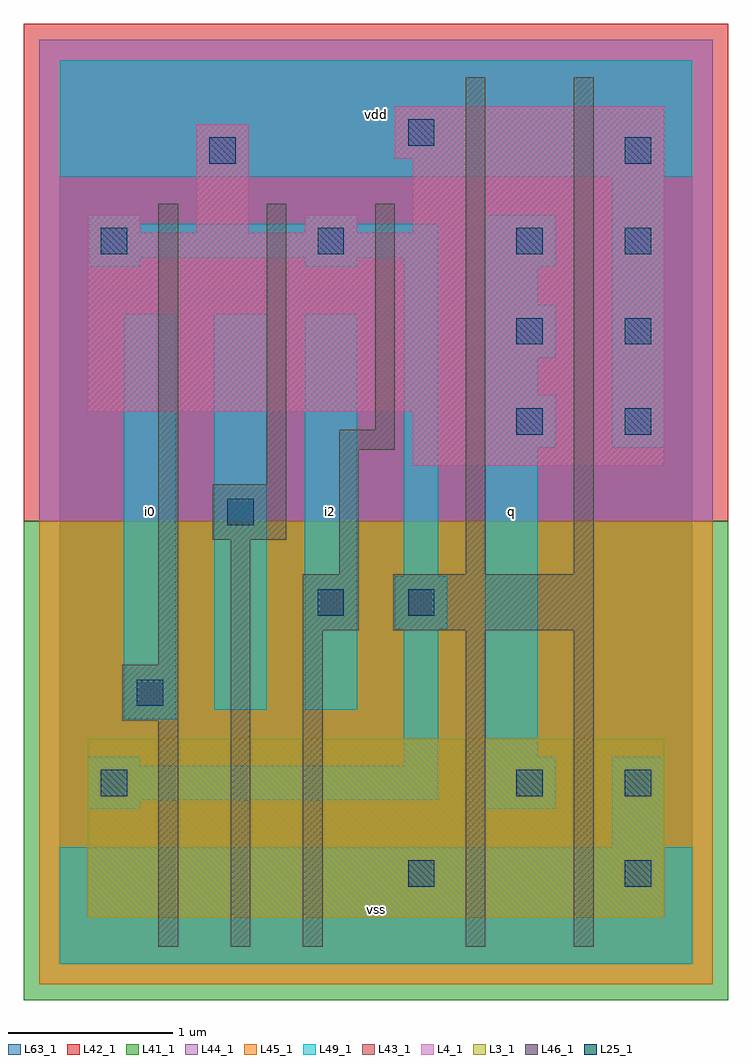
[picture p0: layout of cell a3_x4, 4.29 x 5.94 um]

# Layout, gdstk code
import gdstk
lib = gdstk.Library(unit=1e-6, precision=1e-09)
def R(c, l, rs):  # rectangles x0, y0, x1, y1
    for r in rs: c.add(gdstk.rectangle(r[:2], r[2:], *l))
def A(c, l, x, y, w, h, nx, ny, dx, dy):  # array of equal rectangles
    R(c, l, [(x+i*dx, y+j*dy, x+i*dx+w, y+j*dy+h) for i in range(nx) for j in range(ny)])
L3_1 = (3, 1)
L4_1 = (4, 1)
L25_1 = (25, 1)
L41_1 = (41, 1)
L42_1 = (42, 1)
L43_1 = (43, 1)
L44_1 = (44, 1)
L45_1 = (45, 1)
L46_1 = (46, 1)
L49_1 = (49, 1)
L63_1 = (63, 1)

a3_x4 = lib.new_cell('a3_x4')
R(a3_x4, L3_1, [(0.17,0.28,3.68,1.37)])
R(a3_x4, L4_1, [(2.15,3.03,3.68,3.36), (0.17,3.36,3.68,4.45), (0.17,4.45,0.49,4.56), (0.83,4.45,1.15,5.11), (1.49,4.45,1.81,4.56), (2.15,4.45,3.68,4.9), (2.04,4.9,3.68,5.22)])
A(a3_x4, L25_1, 2.78, 3.22, 0.16, 0.16, 1, 3, 0, 0.55)
A(a3_x4, L25_1, 3.44, 3.22, 0.16, 0.16, 1, 4, 0, 0.55)
R(a3_x4, L25_1, [(2.12,0.47,2.28,0.63), (3.44,0.47,3.6,0.63), (0.25,1.02,0.41,1.18), (2.78,1.02,2.94,1.18), (3.44,1.02,3.6,1.18), (0.47,1.57,0.63,1.73), (1.57,2.12,1.73,2.28), (2.12,2.12,2.28,2.28), (1.02,2.67,1.18,2.83), (0.25,4.32,0.41,4.48), (1.57,4.32,1.73,4.48), (0.91,4.87,1.07,5.03), (2.12,4.98,2.28,5.14)])
R(a3_x4, L41_1, [(-0.22,-0.22,4.07,2.695)])
R(a3_x4, L42_1, [(-0.22,2.695,4.07,5.72)])
R(a3_x4, L43_1, [(0.17,0.28,3.68,1.37), (2.15,3.03,3.68,3.36), (0.17,3.36,3.68,4.45), (0.17,4.45,0.49,4.56), (0.83,4.45,1.15,5.11), (1.49,4.45,1.81,4.56), (2.15,4.45,3.68,4.9), (2.04,4.9,3.68,5.22)])
R(a3_x4, L44_1, [(-0.125,2.695,3.975,5.625)])
R(a3_x4, L45_1, [(-0.125,-0.125,3.975,2.695)])
R(a3_x4, L46_1, [(0.6,0.105,0.72,1.48), (1.04,0.105,1.16,2.58), (1.48,0.105,1.6,2.03), (2.47,0.105,2.59,2.03), (3.13,0.105,3.25,2.03), (0.38,1.48,0.72,1.82), (0.6,1.82,0.72,4.625), (1.48,2.03,1.82,2.37), (2.03,2.03,3.25,2.37), (1.7,2.37,1.82,3.13), (2.47,2.37,2.59,5.395), (3.13,2.37,3.25,5.395), (0.93,2.58,1.38,2.92), (1.26,2.92,1.38,4.625), (1.7,3.13,2.04,3.25), (1.92,3.25,2.04,4.625)])
A(a3_x4, L49_1, 2.59, 3.14, 0.43, 0.32, 1, 3, 0, 0.55)
R(a3_x4, L49_1, [(0,0,3.85,0.71), (3.36,0.71,3.68,1.26), (0.17,0.94,0.49,0.995), (2.59,0.94,3.02,1.26), (0.17,0.995,2.305,1.205), (0.17,1.205,0.49,1.26), (2.095,1.205,2.305,2.04), (2.59,1.26,2.91,3.14), (0.39,1.49,0.71,3.955), (0.94,1.545,1.26,3.955), (1.49,1.545,1.81,3.955), (2.04,2.04,2.36,2.36), (2.095,2.36,2.305,4.295), (3.36,3.14,3.68,4.79), (2.59,3.46,2.91,3.69), (2.59,4.01,2.91,4.24), (0.17,4.24,0.49,4.295), (1.49,4.24,1.81,4.295), (0.17,4.295,2.305,4.505), (0.17,4.505,0.49,4.56), (1.49,4.505,1.81,4.56), (0,4.79,3.85,5.5)])
R(a3_x4, L63_1, [(0,0,3.85,5.5)])
a3_x4.add(gdstk.Label('i0', (0.55,2.75), layer=49, texttype=1))
a3_x4.add(gdstk.Label('i0', (0.55,2.75), layer=49, texttype=1))
a3_x4.add(gdstk.Label('i2', (1.65,2.75), layer=49, texttype=1))
a3_x4.add(gdstk.Label('i2', (1.65,2.75), layer=49, texttype=1))
a3_x4.add(gdstk.Label('vss', (1.925,0.33), layer=49, texttype=1))
a3_x4.add(gdstk.Label('vss', (1.925,0.33), layer=49, texttype=1))
a3_x4.add(gdstk.Label('q', (2.75,2.75), layer=49, texttype=1))
a3_x4.add(gdstk.Label('q', (2.75,2.75), layer=49, texttype=1))
a3_x4.add(gdstk.Label('vdd', (1.925,5.17), layer=49, texttype=1))
a3_x4.add(gdstk.Label('vdd', (1.925,5.17), layer=49, texttype=1))

lib.write_gds('a3_x4.gds')
